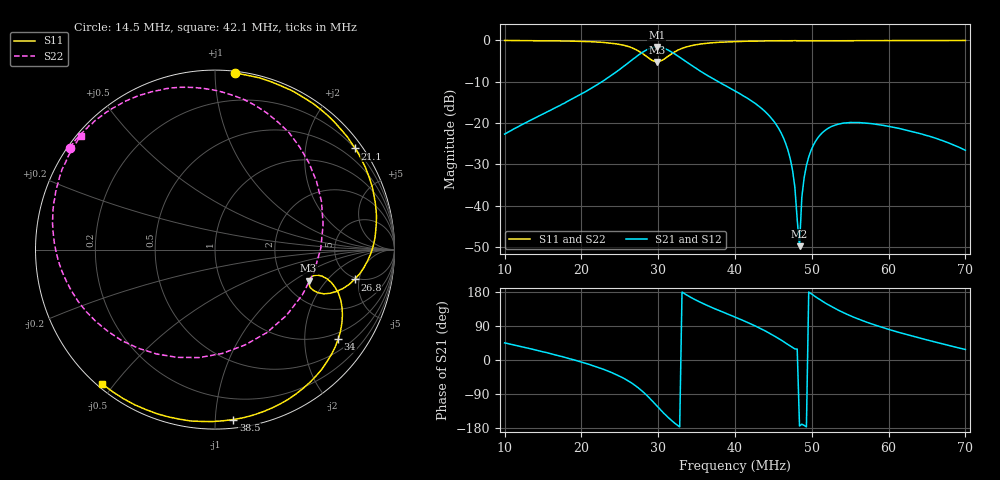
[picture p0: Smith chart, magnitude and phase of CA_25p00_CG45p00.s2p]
#  HZ  S  RI  R  50.00
! Rohde & Schwarz ZVT8 8Ports - Version 4.11 - 1300.0000k08 SN: 100242
! Date: 2026-07-31 14:30:22
! Measurements: S11 S21 S12 S22
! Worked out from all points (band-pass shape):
!   201 points, 10 MHz to 70 MHz, reference 50 ohm
!   highest |S21| = -1.61 dB at 29.8 MHz (marker M1); lowest = -49.8 dB at 48.4 MHz (marker M2)
!   |S21| within 3 dB of the highest: 26.68 MHz to 33.2 MHz (6.515 MHz wide, 21.8 % of centre)
!   lowest |S11| = -5.2 dB at 29.8 MHz (marker M3), VSWR 3.44, Z = 135 - j66.7 ohm
!   |S11| at or under -10 dB: nowhere
!   |S22| runs from -5.3 to 0.0 dB; largest |S21 - S12| = 0.003
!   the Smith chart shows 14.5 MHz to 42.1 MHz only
!   S11 on the Smith chart (normalised r, x): 14.5 MHz: 0.01, +1.12; 21.1 MHz: 0.20, +3.08; 26.8 MHz: 4.78, -4.32; 34 MHz: 0.81, -2.87; 38.5 MHz: 0.05, -1.11; 42.1 MHz: 0.01, -0.46
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1e7  -0.4084 0.9087  0.0517 0.0521  0.0514 0.0523  -0.9172 0.3886
1.45e7  0.1099 0.9827  0.1114 0.0497  0.1112 0.0497  -0.81 0.5686
2.02e7  0.7115 0.6584  0.2284 -0.0264  0.2277 -0.0263  -0.5497 0.7981
2.11e7  0.7815 0.5639  0.2513 -0.0549  0.2512 -0.0547  -0.4825 0.8343
2.68e7  0.7779 -0.166  0.2595 -0.5409  0.2589 -0.5409  0.3495 0.7117
2.98e7  0.5213 -0.1729  -0.4217 -0.716  -0.4217 -0.7155  0.398 -0.3666
3.01e7  0.531 -0.1575  -0.4992 -0.6619  -0.498 -0.6609  0.29 -0.4617
3.4e7  0.6864 -0.499  -0.5111 0.1082  -0.5118 0.1081  -0.8295 -0.1731
3.85e7  0.1018 -0.947  -0.1709 0.2358  -0.17 0.2361  -0.8678 0.3983
4e7  -0.1971 -0.9448  -0.0963 0.2242  -0.0963 0.224  -0.8226 0.5104
4.21e7  -0.6315 -0.7463  -0.0159 0.1857  -0.0161 0.1857  -0.7489 0.6319
4.48e7  -0.9839 -0.0527  0.0435 0.1036  0.0435 0.1036  -0.6482 0.7498
4.69e7  -0.7049 0.6928  0.0354 0.0305  0.0355 0.0306  -0.5646 0.8218
4.78e7  -0.3713 0.9175  0.0144 0.00809  0.0144 0.00804  -0.5259 0.8465
4.84e7  -0.0992 0.9821  -0.00322 -0.000333  -0.00318 -0.000349  -0.502 0.8618
4.9e7  0.1807 0.9706  -0.0215 -0.00282  -0.0216 -0.00279  -0.4772 0.8748
5.02e7  0.6689 0.7256  -0.0531 0.00856  -0.0529 0.00847  -0.4281 0.8993
5.23e7  0.9868 -0.0353  -0.0714 0.0517  -0.0712 0.0518  -0.3439 0.9314
5.5e7  0.6335 -0.7594  -0.0459 0.0904  -0.0457 0.0901  -0.2388 0.9629
6.01e7  -0.3707 -0.919  0.0153 0.0894  0.0152 0.0891  -0.0421 0.9918
6.49e7  -0.9014 -0.4188  0.0421 0.0568  0.0422 0.0568  0.1441 0.9845
7e7  -0.9623 0.2555  0.0414 0.0217  0.0413 0.0215  0.3412 0.9361
